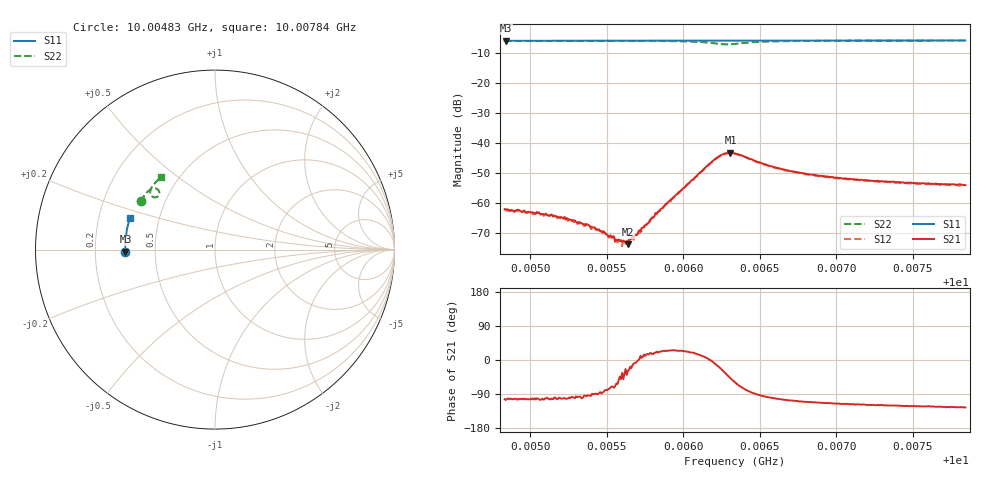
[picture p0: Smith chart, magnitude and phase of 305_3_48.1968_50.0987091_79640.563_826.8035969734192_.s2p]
#  HZ  S  RI  R  50.00
! Rohde & Schwarz Vector Network Analyzer
! Rohde-Schwarz,ZNB20-2Port,1311601062101988,3.16
! Created: UTC 3/20/2024, 11:49:45 AM
! freq[Hz]  re:S11  im:S11  re:S21  im:S21  re:S12  im:S12  re:S22  im:S22
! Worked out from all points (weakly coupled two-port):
!   401 points, 10.00483 GHz to 10.00784 GHz, reference 50 ohm
!   highest |S21| = -43.34 dB at 10.00631 GHz (marker M1); lowest = -73.8 dB at 10.00564 GHz (marker M2)
!   lowest |S11| = -6.0 dB at 10.00484 GHz (marker M3), VSWR 2.99, Z = 16.7 - j0.549 ohm
!   |S11| at or under -10 dB: nowhere
!   |S22| runs from -7.2 to -6.0 dB; largest |S21 - S12| = 0.00039
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1.0004834e10  -0.4991 -0.013  -0.000179 -0.000764  -0.000138 -0.00073  -0.4149 0.2681
1.0004841e10  -0.4991 -0.0123  -0.000208 -0.000743  -0.000131 -0.000742  -0.4147 0.2686
1.0004954e10  -0.4996 -0.00492  -0.000166 -0.000692  -0.000147 -0.000723  -0.4107 0.2752
1.0005135e10  -0.4999 0.00669  -0.000151 -0.000614  -0.000106 -0.000615  -0.404 0.2859
1.0005338e10  -0.4999 0.0198  -8.74e-05 -0.000447  -4.45e-05 -0.000466  -0.3958 0.298
1.0005421e10  -0.4998 0.0252  3.72e-06 -0.000389  -1.5e-05 -0.000381  -0.3921 0.3031
1.0005571e10  -0.4996 0.035  0.000106 -0.000213  0.000115 -0.000184  -0.3848 0.3123
1.0005586e10  -0.4995 0.036  0.000167 -0.000159  0.000165 -0.000167  -0.384 0.3132
1.0005616e10  -0.4996 0.038  0.000182 -0.000138  0.000169 -0.000158  -0.3825 0.3153
1.0005639e10  -0.4992 0.0395  0.000179 -9.7e-05  0.000213 -9.89e-05  -0.3813 0.3165
1.0005722e10  -0.499 0.0449  0.000325 6.27e-05  0.000327 2.31e-05  -0.3764 0.3217
1.0005759e10  -0.4988 0.0472  0.000416 0.000112  0.000411 0.000135  -0.374 0.3241
1.0005842e10  -0.4985 0.0525  0.000676 0.000272  0.000656 0.000299  -0.368 0.3294
1.0006203e10  -0.4958 0.0757  0.00516 -0.000731  0.00508 -0.000476  -0.3129 0.3275
1.0006264e10  -0.4952 0.0793  0.00562 -0.0032  0.00567 -0.00289  -0.3117 0.3057
1.0006309e10  -0.4949 0.082  0.00457 -0.00505  0.00469 -0.00476  -0.3242 0.293
1.0006339e10  -0.4947 0.0839  0.0034 -0.00571  0.00364 -0.00541  -0.3352 0.2907
1.000658e10  -0.4927 0.0993  -0.000717 -0.00398  -0.000525 -0.00393  -0.3601 0.3281
1.0006843e10  -0.4896 0.1162  -0.00107 -0.00273  -0.000898 -0.00272  -0.3488 0.3527
1.0007031e10  -0.4871 0.1281  -0.00114 -0.00232  -0.00098 -0.00232  -0.3396 0.3652
1.0007347e10  -0.4822 0.1477  -0.00112 -0.00196  -0.00103 -0.00196  -0.3239 0.3822
1.0007844e10  -0.4728 0.1784  -0.00114 -0.00161  -0.00107 -0.00165  -0.2986 0.4053
